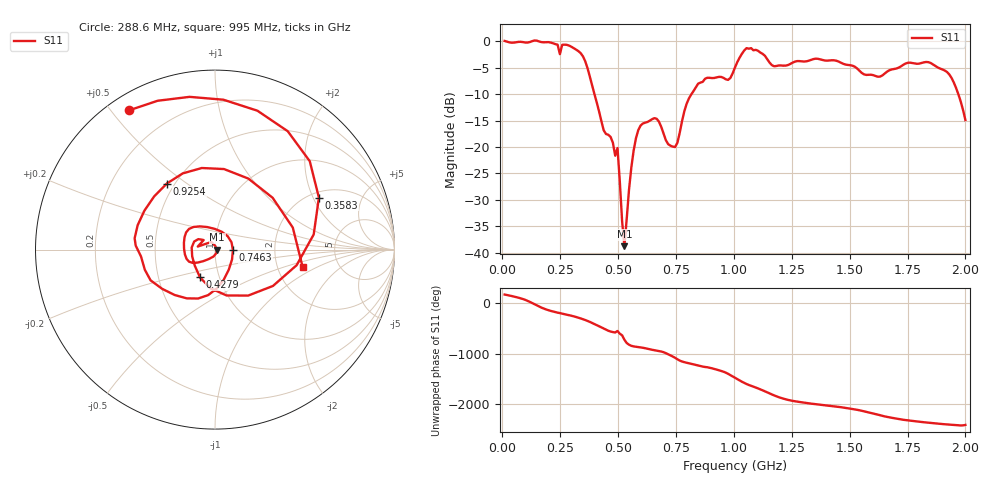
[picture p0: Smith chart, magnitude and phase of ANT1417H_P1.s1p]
!Created with skrf (http://scikit-rf.org).
# Hz S RI R 50.0
!freq ReS11 ImS11
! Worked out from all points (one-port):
!   201 points, 10 MHz to 2 GHz, reference 50 ohm
!   lowest |S11| = -38.8 dB at 527.4 MHz (marker M1), VSWR 1.02, Z = 51.2 - j0.0788 ohm
!   |S11| at or under -10 dB: 398 MHz to 817 MHz (419 MHz wide, 69 % of centre); 1.969 GHz to end of sweep
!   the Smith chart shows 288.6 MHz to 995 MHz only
!   S11 on the Smith chart (normalised r, x): 288.6 MHz: 0.06, +0.56; 358.2 MHz: 2.22, +2.22; 427.9 MHz: 0.81, -0.26; 746.3 MHz: 1.22, -0.01; 925.4 MHz: 0.45, +0.42; 995 MHz: 2.77, -0.73
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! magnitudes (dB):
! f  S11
! 10 MHz  0.1
! 209 MHz  -0.2
! 248.8 MHz  -2.4
! 258.8 MHz  -0.6
! 288.6 MHz  -0.8
! 358.2 MHz  -3.8
! 427.9 MHz  -15.1
! 487.6 MHz  -21.7
! 497.6 MHz  -20.2
! 507.5 MHz  -26.5
! 527.4 MHz  -38.8
! 557.2 MHz  -23.9
! 597 MHz  -16.0
! 666.7 MHz  -14.7
! 746.3 MHz  -20.0
! 756.2 MHz  -19.2
! 816 MHz  -10.1
! 925.4 MHz  -6.8
! 995 MHz  -6.0
! 1.005 GHz  -4.9
! 1.055 GHz  -1.3
! 1.174 GHz  -4.7
! 1.254 GHz  -4.0
! 1.502 GHz  -4.5
! 1.622 GHz  -6.7
! 1.751 GHz  -4.1
! 1.92 GHz  -5.8
! 2 GHz  -14.9
